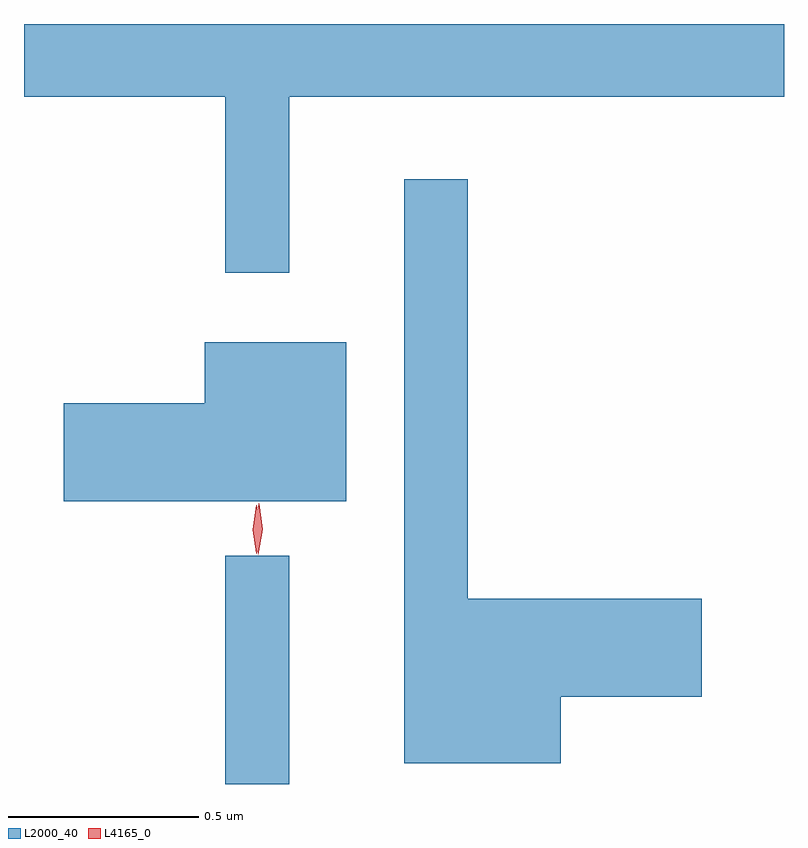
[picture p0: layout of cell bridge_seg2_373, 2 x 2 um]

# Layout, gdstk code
import gdstk
lib = gdstk.Library(unit=1e-6, precision=1e-09)
def R(c, l, rs):  # rectangles x0, y0, x1, y1
    for r in rs: c.add(gdstk.rectangle(r[:2], r[2:], *l))
def P(c, l, *ps):  # polygons
    for p in ps: c.add(gdstk.Polygon(p, *l))
L2000_40 = (2000, 40)
L4165_0 = (4165, 0)

bridge_seg2_373 = lib.new_cell('bridge_seg2_373')
R(bridge_seg2_373, L2000_40, [(398.131,1044.287,398.299,1044.888)])
P(bridge_seg2_373, L2000_40, [(398.299,1046.096),(399.601,1046.096),(399.601,1046.287),(397.601,1046.287),(397.601,1046.096),(398.131,1046.096),(398.131,1045.632),(398.299,1045.632)],
  [(399.014,1044.516),(399.384,1044.516),(399.384,1044.774),(398.769,1044.774),(398.769,1045.878),(398.601,1045.878),(398.601,1044.341),(399.014,1044.341)],
  [(398.449,1045.449),(398.076,1045.449),(398.076,1045.289),(397.706,1045.289),(397.706,1045.031),(398.449,1045.031)])
P(bridge_seg2_373, L4165_0, [(398.218,1044.89),(398.218,1044.89),(398.209,1044.958),(398.219,1045.025),(398.219,1045.026),(398.22,1045.025),(398.229,1044.958),(398.218,1044.89)],
  [(398.213,1044.893),(398.212,1044.894),(398.203,1044.956),(398.212,1045.02),(398.213,1045.02),(398.213,1045.02),(398.223,1044.956),(398.213,1044.894)])

lib.write_gds('bridge_seg2_373.gds')
